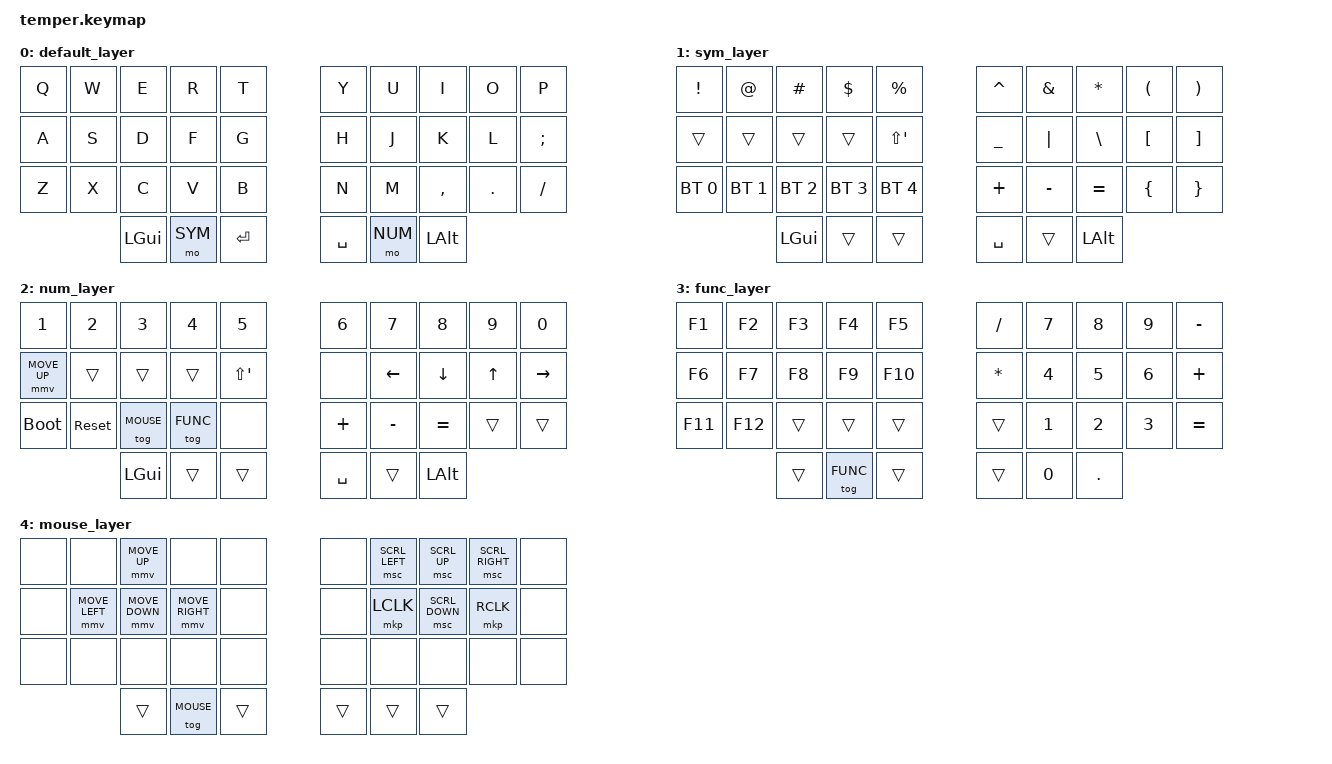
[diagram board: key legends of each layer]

/*
 * Copyright (c) 2020 The ZMK Contributors
 *
 * SPDX-License-Identifier: MIT
 */

#include <behaviors.dtsi>
#include <dt-bindings/zmk/keys.h>
#include <dt-bindings/zmk/bt.h>
#include <dt-bindings/zmk/outputs.h>
#include <dt-bindings/zmk/pointing.h>

#define DEFAULT 0
#define SYM 1
#define NUM 2
#define FUNC 3
#define MOUSE 4

# define ______ &trans

// Mouse Emulation
#define ZMK_POINTING_DEFAULT_MOVE_VAL 900  // default: 600
#define ZMK_POINTING_DEFAULT_SCRL_VAL 10    // default: 10

&mmv {
    x-input-code = <INPUT_REL_X>;
    y-input-code = <INPUT_REL_Y>;
    time-to-max-speed-ms = <400>;
    acceleration-exponent = <2>;
};

/ {
    behaviors {
        bspc_del: backspace_delete {
            compatible = "zmk,behavior-mod-morph";
            #binding-cells = <0>;
            bindings = <&kp BACKSPACE>, <&kp DELETE>;
            mods = <(MOD_LSFT|MOD_RSFT)>;
            keep-mods = <(MOD_RSFT)>;
        };
    };

    combos {
        compatible = "zmk,combos";

        lshift_combo {
            bindings = <&kp LEFT_SHIFT>;
            key-positions = <11 12>;
        };

        rshift_combo {
            bindings = <&kp RIGHT_SHIFT>;
            key-positions = <17 18>;
        };

        Enter_combo {
            bindings = <&kp ENTER>;
            key-positions = <17 18 19>;
        };

        backspace_combo {
            bindings = <&bspc_del>;
            key-positions = <8 9>;
        };

        lctrl_combo {
            bindings = <&kp LCTRL>;
            key-positions = <10 11>;
        };

        rctrl_combo {
            bindings = <&kp LCTRL>;
            key-positions = <18 19>;
        };

        tab_combo {
            bindings = <&kp TAB>;
            key-positions = <1 2>;
        };

        esc_combo {
            bindings = <&kp ESC>;
            key-positions = <0 1>;
        };

        Apostrophe {
            bindings = <&kp SQT>;
            key-positions = <6 7>;
        };

        Del-combo {
            bindings = <&bspc_del>;
            key-positions = <7 8>;
        };

        Delete {
            bindings = <&kp DEL>;
            key-positions = <7 8 9>;
        };

        low_apostrophe {
            bindings = <&kp APOS>;
            key-positions = <28 29>;
        };

        LeftDel {
            bindings = <&kp DELETE>;
            key-positions = <0 1 2>;
        };

        clearBTprofile {
            bindings = <&bt BT_CLR>;
            key-positions = <22 23 24>;

        };
    };

        keymap {
                compatible = "zmk,keymap";

                default_layer {
                        bindings = <
// ╭─────────────┬─────────────┬─────────────┬─────────────┬─────────────╮   ╭─────────────┬─────────────┬─────────────┬─────────────┬─────────────╮
        &kp Q         &kp W         &kp E         &kp R         &kp T             &kp Y         &kp U         &kp I         &kp O         &kp P  
// ├─────────────┼─────────────┼─────────────┼─────────────┼─────────────┤   ├─────────────┼─────────────┼─────────────┼─────────────┼─────────────┤
        &kp A         &kp S         &kp D         &kp F         &kp G             &kp H         &kp J         &kp K         &kp L        &kp SEMI 
// ├─────────────┼─────────────┼─────────────┼─────────────┼─────────────┤   ├─────────────┼─────────────┼─────────────┼─────────────┼─────────────┤
        &kp Z         &kp X         &kp C         &kp V         &kp B             &kp N         &kp M       &kp COMMA      &kp DOT       &kp FSLH
// ╰─────────────┴─────────────┼─────────────┼─────────────┼─────────────┤   ├─────────────┼─────────────┼─────────────┼─────────────┴─────────────╯
                                   &kp LGUI      &mo SYM       &kp RET          &kp SPACE      &mo NUM       &kp LALT
//                             ╰─────────────┴─────────────┴─────────────╯   ╰─────────────┴─────────────┴─────────────╯
                        >;
                };
                sym_layer {
                        bindings = <
// ╭─────────────┬─────────────┬─────────────┬─────────────┬─────────────╮   ╭─────────────┬─────────────┬─────────────┬─────────────┬─────────────╮
       &kp EXCL       &kp AT       &kp HASH      &kp DLLR     &kp PRCNT         &kp CARET     &kp AMPS      &kp ASTRK      &kp LPAR     &kp RPAR  
// ├─────────────┼─────────────┼─────────────┼─────────────┼─────────────┤   ├─────────────┼─────────────┼─────────────┼─────────────┼─────────────┤
        &trans        &trans        &trans        &trans     &kp LS(APOS)       &kp UNDER     &kp PIPE      &kp BSLH       &kp LBKT     &kp RBKT 
// ├─────────────┼─────────────┼─────────────┼─────────────┼─────────────┤   ├─────────────┼─────────────┼─────────────┼─────────────┼─────────────┤
    &bt BT_SEL 0  &bt BT_SEL 1  &bt BT_SEL 2  &bt BT_SEL 3  &bt BT_SEL 4        &kp PLUS      &kp MINUS     &kp EQUAL      &kp LBRC     &kp RBRC 
// ╰─────────────┴─────────────┼─────────────┼─────────────┼─────────────┤   ├─────────────┼─────────────┼─────────────┼─────────────┴─────────────╯
                                   &kp LGUI      &trans        &trans           &kp SPACE       &trans      &kp LALT
//                             ╰─────────────┴─────────────┴─────────────╯   ╰─────────────┴─────────────┴─────────────╯
                        >;
                };
                num_layer {
                        bindings = <
// ╭─────────────┬─────────────┬─────────────┬─────────────┬─────────────╮   ╭─────────────┬─────────────┬─────────────┬─────────────┬─────────────╮
        &kp N1        &kp N2        &kp N3        &kp N4        &kp N5            &kp N6        &kp N7        &kp N8        &kp N9       &kp N0   
// ├─────────────┼─────────────┼─────────────┼─────────────┼─────────────┤   ├─────────────┼─────────────┼─────────────┼─────────────┼─────────────┤
    &mmv MOVE_UP      &trans        &trans        &trans     &kp LS(APOS)         &none        &kp LEFT      &kp DOWN    &kp UP         &kp RIGHT 
// ├─────────────┼─────────────┼─────────────┼─────────────┼─────────────┤   ├─────────────┼─────────────┼─────────────┼─────────────┼─────────────┤
     &bootloader   &sys_reset     &tog MOUSE     &tog FUNC      &none            &kp PLUS     &kp MINUS      &kp EQUAL      &trans       &trans 
// ╰─────────────┴─────────────┼─────────────┼─────────────┼─────────────┤   ├─────────────┼─────────────┼─────────────┼─────────────┴─────────────╯
                                   &kp LGUI       &trans        &trans          &kp SPACE       &trans       &kp LALT
//                             ╰─────────────┴─────────────┴─────────────╯   ╰─────────────┴─────────────┴─────────────╯
                        >;
                };

                func_layer {
                        bindings = <
// ╭─────────────┬─────────────┬─────────────┬─────────────┬─────────────╮   ╭─────────────┬─────────────┬─────────────┬─────────────┬─────────────╮
        &kp F1        &kp F2        &kp F3        &kp F4        &kp F5           &kp FSLH       &kp N7        &kp N8        &kp N9      &kp MINUS 
// ├─────────────┼─────────────┼─────────────┼─────────────┼─────────────┤   ├─────────────┼─────────────┼─────────────┼─────────────┼─────────────┤
        &kp F6        &kp F7        &kp F8        &kp F9       &kp F10           &kp ASTRK      &kp N4        &kp N5        &kp N6      &kp PLUS
// ├─────────────┼─────────────┼─────────────┼─────────────┼─────────────┤   ├─────────────┼─────────────┼─────────────┼─────────────┼─────────────┤
        &kp F11       &kp F12       &trans        &trans        &trans            &trans        &kp N1        &kp N2        &kp N3      &kp EQUAL
// ╰─────────────┴─────────────┼─────────────┼─────────────┼─────────────┤   ├─────────────┼─────────────┼─────────────┼─────────────┴─────────────╯
                                    ______      &tog FUNC       ______            ______        &kp N0     &kp PERIOD
//                             ╰─────────────┴─────────────┴─────────────╯   ╰─────────────┴─────────────┴─────────────╯
                        >;
                };

                mouse_layer {
                        bindings = <
                        &none   &none           &mmv MOVE_UP    &none            &none    &none   &msc SCRL_LEFT  &msc SCRL_UP    &msc SCRL_RIGHT  &none
                        &none   &mmv MOVE_LEFT  &mmv MOVE_DOWN  &mmv MOVE_RIGHT  &none    &none   &mkp LCLK       &msc SCRL_DOWN  &mkp RCLK        &none
                        &none   &none           &none           &none            &none    &none   &none           &none           &none            &none 
                                                &trans          &tog MOUSE       &trans   &trans  &trans          &trans
                        >;
                };
        };
};
